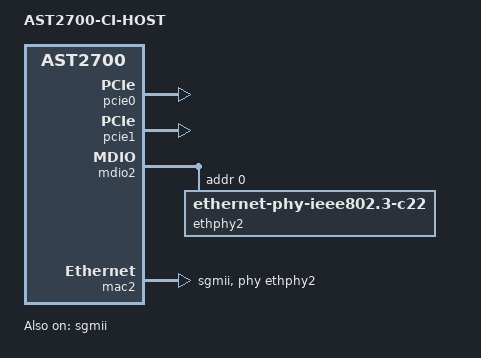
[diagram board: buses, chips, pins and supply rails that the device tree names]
// SPDX-License-Identifier: GPL-2.0-or-later

/dts-v1/;

#include "ast2700-evb.dts"

/ {
	model = "AST2700-CI-HOST";
};

&bmc_dev0 {
	status = "disabled";
};

&xdma0 {
	status = "disabled";
};

&pcie_vuart0 {
	status = "disabled";
};

&pcie_vuart1 {
	status = "disabled";
};

&pcie_lpc0_kcs0 {
	status = "disabled";
};

&pcie_lpc0_kcs1 {
	status = "disabled";
};

&pcie_lpc0_kcs2 {
	status = "disabled";
};

&pcie_lpc0_kcs3 {
	status = "disabled";
};

&pcie_lpc0_ibt {
	status = "disabled";
};

&pcie0_mmbi0 {
	status = "disabled";
};

&pcie0 {
	status = "okay";
};

&bmc_dev1 {
	status = "disabled";
};

&xdma1 {
	status = "disabled";
};

&pcie_vuart2 {
	status = "disabled";
};

&pcie_vuart3 {
	status = "disabled";
};

&pcie_lpc1_kcs0 {
	status = "disabled";
};

&pcie_lpc1_kcs1 {
	status = "disabled";
};

&pcie_lpc1_kcs2 {
	status = "disabled";
};

&pcie_lpc1_kcs3 {
	status = "disabled";
};

&pcie_lpc1_ibt {
	status = "disabled";
};

&pcie1_mmbi4 {
	status = "disabled";
};

&pcie1 {
	status = "okay";
};

&mdio0 {
	status = "disabled";
};

&mac0 {
	status = "disabled";
};

&mdio2 {
	status = "okay";
	#address-cells = <1>;
	#size-cells = <0>;

	ethphy2: ethernet-phy@0 {
		compatible = "ethernet-phy-ieee802.3-c22";
		reg = <0>;
	};
};

&sgmii {
	status = "okay";
};

&mac2 {
	status = "okay";

	phy-mode = "sgmii";
	phy-handle = <&ethphy2>;
};

&mctp0 {
	pcie_rc;
};

&mctp1 {
	pcie_rc;
};
